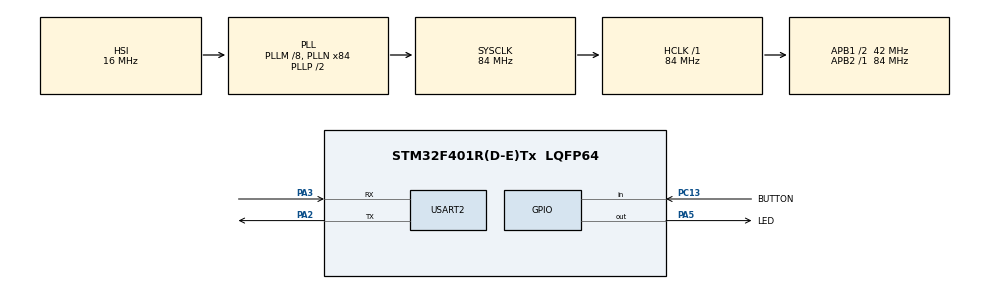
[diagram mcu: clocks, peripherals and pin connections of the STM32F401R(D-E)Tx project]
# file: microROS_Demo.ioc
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Dma.Request0=USART2_RX
Dma.Request1=USART2_TX
Dma.USART2_RX.0.Direction=DMA_PERIPH_TO_MEMORY
Dma.USART2_RX.0.FIFOMode=DMA_FIFOMODE_DISABLE
Dma.USART2_RX.0.Instance=DMA1_Stream5
Dma.USART2_RX.0.MemDataAlignment=DMA_MDATAALIGN_BYTE
Dma.USART2_RX.0.MemInc=DMA_MINC_ENABLE
Dma.USART2_RX.0.Mode=DMA_CIRCULAR
Dma.USART2_RX.0.PeriphDataAlignment=DMA_PDATAALIGN_BYTE
Dma.USART2_RX.0.PeriphInc=DMA_PINC_DISABLE
Dma.USART2_RX.0.Priority=DMA_PRIORITY_VERY_HIGH
Dma.USART2_TX.1.Direction=DMA_MEMORY_TO_PERIPH
Dma.USART2_TX.1.FIFOMode=DMA_FIFOMODE_DISABLE
Dma.USART2_TX.1.Instance=DMA1_Stream6
Dma.USART2_TX.1.MemDataAlignment=DMA_MDATAALIGN_BYTE
Dma.USART2_TX.1.MemInc=DMA_MINC_ENABLE
Dma.USART2_TX.1.Mode=DMA_NORMAL
Dma.USART2_TX.1.PeriphDataAlignment=DMA_PDATAALIGN_BYTE
Dma.USART2_TX.1.PeriphInc=DMA_PINC_DISABLE
Dma.USART2_TX.1.Priority=DMA_PRIORITY_VERY_HIGH
FREERTOS.Tasks01=defaultTask,24,3000,StartDefaultTask,Default,NULL,Static,defaultTaskBuffer,defaultTaskControlBlock
FREERTOS.configUSE_NEWLIB_REENTRANT=1
Mcu.Family=STM32F4
Mcu.Name=STM32F401R(D-E)Tx
Mcu.Package=LQFP64
NVIC.DMA1_Stream5_IRQn=true\:5\:0\:false\:false\:true\:true\:false\:true\:true
NVIC.DMA1_Stream6_IRQn=true\:5\:0\:false\:false\:true\:true\:false\:true\:true
NVIC.PriorityGroup=NVIC_PRIORITYGROUP_4
NVIC.TIM1_UP_TIM10_IRQn=true\:15\:0\:false\:false\:true\:false\:false\:true\:true
NVIC.TimeBase=TIM1_UP_TIM10_IRQn
NVIC.TimeBaseIP=TIM1
NVIC.USART2_IRQn=true\:5\:0\:false\:false\:true\:true\:true\:true\:true
PA13.Mode=Serial_Wire
PA13.Signal=SYS_JTMS-SWDIO
PA14.Mode=Serial_Wire
PA14.Signal=SYS_JTCK-SWCLK
PA2.Mode=Asynchronous
PA2.Signal=USART2_TX
PA3.Mode=Asynchronous
PA3.Signal=USART2_RX
PA5.GPIO_Label=LED
PA5.Signal=GPIO_Output
PC13-ANTI_TAMP.GPIO_Label=BUTTON
PC13-ANTI_TAMP.Signal=GPIO_Input
PH0\ -\ OSC_IN.Mode=HSE-External-Oscillator
PH0\ -\ OSC_IN.Signal=RCC_OSC_IN
PH1\ -\ OSC_OUT.Mode=HSE-External-Oscillator
PH1\ -\ OSC_OUT.Signal=RCC_OSC_OUT
ProjectManager.HeapSize=0x200
ProjectManager.StackSize=0x400
ProjectManager.TargetToolchain=STM32CubeIDE
RCC.48MHZClocksFreq_Value=42000000
RCC.AHBFreq_Value=84000000
RCC.APB1CLKDivider=RCC_HCLK_DIV2
RCC.APB1Freq_Value=42000000
RCC.APB1TimFreq_Value=84000000
RCC.APB2Freq_Value=84000000
RCC.APB2TimFreq_Value=84000000
RCC.CortexFreq_Value=84000000
RCC.HCLKFreq_Value=84000000
RCC.HSE_VALUE=25000000
RCC.HSI_VALUE=16000000
RCC.LSE_VALUE=32768
RCC.PLLM=8
RCC.PLLN=84
RCC.SYSCLKFreq_VALUE=84000000
RCC.SYSCLKSource=RCC_SYSCLKSOURCE_PLLCLK
RCC.VCOOutputFreq_Value=168000000
USART2.VirtualMode=VM_ASYNC
VP_FREERTOS_VS_CMSIS_V2.Mode=CMSIS_V2
VP_SYS_VS_tim1.Mode=TIM1
board=custom

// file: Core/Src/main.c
/* USER CODE BEGIN Header */
/**
  ******************************************************************************
  * @file           : main.c
  * @brief          : Main program body
  ******************************************************************************
  * @attention
  *
  * Copyright (c) 2025 STMicroelectronics.
  * All rights reserved.
  *
  * This software is licensed under terms that can be found in the LICENSE file
  * in the root directory of this software component.
  * If no LICENSE file comes with this software, it is provided AS-IS.
  *
  ******************************************************************************
  */
/* USER CODE END Header */
#include "main.h"
#include "cmsis_os.h"
//#include "dma.h"
//#include "usart.h"
//#include "gpio.h"

/* USER CODE BEGIN Includes */
#include <rcl/rcl.h>
#include <rcl/error_handling.h>
#include <rclc/rclc.h>
#include <rclc/executor.h>
#include <uxr/client/transport.h>
#include <rmw_microxrcedds_c/config.h>
#include <rmw_microros/rmw_microros.h>

#include <std_msgs/msg/int32.h>
#include <geometry_msgs/msg/twist.h>
#include <geometry_msgs/msg/vector3.h>
#include <geometry_msgs/msg/point.h>
/* USER CODE END Includes */

typedef StaticTask_t osStaticThreadDef_t;

UART_HandleTypeDef huart2;
DMA_HandleTypeDef hdma_usart2_rx;
DMA_HandleTypeDef hdma_usart2_tx;

/* Definitions for defaultTask */
osThreadId_t defaultTaskHandle;
uint32_t defaultTaskBuffer[ 3000 ];
osStaticThreadDef_t defaultTaskControlBlock;
const osThreadAttr_t defaultTask_attributes = {
  .name = "defaultTask",
  .cb_mem = &defaultTaskControlBlock,
  .cb_size = sizeof(defaultTaskControlBlock),
  .stack_mem = &defaultTaskBuffer[0],
  .stack_size = sizeof(defaultTaskBuffer),
  .priority = (osPriority_t) osPriorityNormal,
};

void SystemClock_Config(void);
static void MX_GPIO_Init(void);
static void MX_DMA_Init(void);
static void MX_USART2_UART_Init(void);
void StartDefaultTask(void *argument);

int main(void)
{

  /* MCU Configuration--------------------------------------------------------*/

  /* Reset of all peripherals, Initializes the Flash interface and the Systick. */
  HAL_Init();

  /* Configure the system clock */
  SystemClock_Config();

  /* Initialize all configured peripherals */
  MX_GPIO_Init();
  MX_DMA_Init();
  MX_USART2_UART_Init();

  /* Init scheduler */
  osKernelInitialize();

  /* Create the thread(s) */
  /* creation of defaultTask */
  defaultTaskHandle = osThreadNew(StartDefaultTask, NULL, &defaultTask_attributes);

  /* Start scheduler */
  osKernelStart();

  /* We should never get here as control is now taken by the scheduler */

  /* Infinite loop */
  while (1)
  {

  }
}

void SystemClock_Config(void)
{
  RCC_OscInitTypeDef RCC_OscInitStruct = {0};
  RCC_ClkInitTypeDef RCC_ClkInitStruct = {0};

  /** Configure the main internal regulator output voltage
  */
  __HAL_RCC_PWR_CLK_ENABLE();
  __HAL_PWR_VOLTAGESCALING_CONFIG(PWR_REGULATOR_VOLTAGE_SCALE2);

  /** Initializes the RCC Oscillators according to the specified parameters
  * in the RCC_OscInitTypeDef structure.
  */
  RCC_OscInitStruct.OscillatorType = RCC_OSCILLATORTYPE_HSI;
  RCC_OscInitStruct.HSIState = RCC_HSI_ON;
  RCC_OscInitStruct.HSICalibrationValue = RCC_HSICALIBRATION_DEFAULT;
  RCC_OscInitStruct.PLL.PLLState = RCC_PLL_ON;
  RCC_OscInitStruct.PLL.PLLSource = RCC_PLLSOURCE_HSI;
  RCC_OscInitStruct.PLL.PLLM = 8;
  RCC_OscInitStruct.PLL.PLLN = 84;
  RCC_OscInitStruct.PLL.PLLP = RCC_PLLP_DIV2;
  RCC_OscInitStruct.PLL.PLLQ = 4;
  if (HAL_RCC_OscConfig(&RCC_OscInitStruct) != HAL_OK)
  {
    Error_Handler();
  }

  /** Initializes the CPU, AHB and APB buses clocks
  */
  RCC_ClkInitStruct.ClockType = RCC_CLOCKTYPE_HCLK|RCC_CLOCKTYPE_SYSCLK
                              |RCC_CLOCKTYPE_PCLK1|RCC_CLOCKTYPE_PCLK2;
  RCC_ClkInitStruct.SYSCLKSource = RCC_SYSCLKSOURCE_PLLCLK;
  RCC_ClkInitStruct.AHBCLKDivider = RCC_SYSCLK_DIV1;
  RCC_ClkInitStruct.APB1CLKDivider = RCC_HCLK_DIV2;
  RCC_ClkInitStruct.APB2CLKDivider = RCC_HCLK_DIV1;

  if (HAL_RCC_ClockConfig(&RCC_ClkInitStruct, FLASH_LATENCY_2) != HAL_OK)
  {
    Error_Handler();
  }
}

static void MX_USART2_UART_Init(void)
{

  huart2.Instance = USART2;
  huart2.Init.BaudRate = 115200;
  huart2.Init.WordLength = UART_WORDLENGTH_8B;
  huart2.Init.StopBits = UART_STOPBITS_1;
  huart2.Init.Parity = UART_PARITY_NONE;
  huart2.Init.Mode = UART_MODE_TX_RX;
  huart2.Init.HwFlowCtl = UART_HWCONTROL_NONE;
  huart2.Init.OverSampling = UART_OVERSAMPLING_16;
  if (HAL_UART_Init(&huart2) != HAL_OK)
  {
    Error_Handler();
  }

}

static void MX_DMA_Init(void)
{

  /* DMA controller clock enable */
  __HAL_RCC_DMA1_CLK_ENABLE();

  /* DMA interrupt init */
  /* DMA1_Stream5_IRQn interrupt configuration */
  HAL_NVIC_SetPriority(DMA1_Stream5_IRQn, 5, 0);
  HAL_NVIC_EnableIRQ(DMA1_Stream5_IRQn);
  /* DMA1_Stream6_IRQn interrupt configuration */
  HAL_NVIC_SetPriority(DMA1_Stream6_IRQn, 5, 0);
  HAL_NVIC_EnableIRQ(DMA1_Stream6_IRQn);

}

static void MX_GPIO_Init(void)
{
  GPIO_InitTypeDef GPIO_InitStruct = {0};

  /* GPIO Ports Clock Enable */
  __HAL_RCC_GPIOC_CLK_ENABLE();
  __HAL_RCC_GPIOH_CLK_ENABLE();
  __HAL_RCC_GPIOA_CLK_ENABLE();

  /*Configure GPIO pin Output Level */
  HAL_GPIO_WritePin(LED_GPIO_Port, LED_Pin, GPIO_PIN_RESET);

  /*Configure GPIO pin : BUTTON_Pin */
  GPIO_InitStruct.Pin = BUTTON_Pin;
  GPIO_InitStruct.Mode = GPIO_MODE_INPUT;
  GPIO_InitStruct.Pull = GPIO_NOPULL;
  HAL_GPIO_Init(BUTTON_GPIO_Port, &GPIO_InitStruct);

  /*Configure GPIO pin : LED_Pin */
  GPIO_InitStruct.Pin = LED_Pin;
  GPIO_InitStruct.Mode = GPIO_MODE_OUTPUT_PP;
  GPIO_InitStruct.Pull = GPIO_NOPULL;
  GPIO_InitStruct.Speed = GPIO_SPEED_FREQ_LOW;
  HAL_GPIO_Init(LED_GPIO_Port, &GPIO_InitStruct);

}

/* USER CODE BEGIN 4 */
bool cubemx_transport_open(struct uxrCustomTransport * transport);
bool cubemx_transport_close(struct uxrCustomTransport * transport);
size_t cubemx_transport_write(struct uxrCustomTransport* transport, const uint8_t * buf, size_t len, uint8_t * err);
size_t cubemx_transport_read(struct uxrCustomTransport* transport, uint8_t* buf, size_t len, int timeout, uint8_t* err);

void * microros_allocate(size_t size, void * state);
void microros_deallocate(void * pointer, void * state);
void * microros_reallocate(void * pointer, size_t size, void * state);
void * microros_zero_allocate(size_t number_of_elements, size_t size_of_element, void * state);
/* USER CODE END 4 */

void StartDefaultTask(void *argument)
{
  /* USER CODE BEGIN 5 */

  // micro-ROS configuration

  rmw_uros_set_custom_transport(
    true,
    (void *) &huart2,
    cubemx_transport_open,
    cubemx_transport_close,
    cubemx_transport_write,
    cubemx_transport_read);

  rcl_allocator_t freeRTOS_allocator = rcutils_get_zero_initialized_allocator();
  freeRTOS_allocator.allocate = microros_allocate;
  freeRTOS_allocator.deallocate = microros_deallocate;
  freeRTOS_allocator.reallocate = microros_reallocate;
  freeRTOS_allocator.zero_allocate =  microros_zero_allocate;

  if (!rcutils_set_default_allocator(&freeRTOS_allocator)) {
      printf("Error on default allocators (line %d)\n", __LINE__);
  }

  // micro-ROS app

  rcl_publisher_t publisher;
  rcl_publisher_t int32_publisher;

  geometry_msgs__msg__Point msg;
  std_msgs__msg__Int32 int32_msg;

  rclc_support_t support;
  rcl_allocator_t allocator;
  rcl_node_t node;

  msg.x = 0.0;  // Red
  msg.y = 0.0;  // Green
  msg.z = 0.0;  // Blue
  // msg.angular.x = 0.0; // Not used
  // msg.angular.y = 0.0; // Not used
  // msg.angular.z = 0.0; // Not used

  int32_msg.data = 0;

  allocator = rcl_get_default_allocator();

  //create init_options
  rclc_support_init(&support, 0, NULL, &allocator);

  // create node
  rclc_node_init_default(&node, "cubemx_node", "", &support);

  // create publisher
  rclc_publisher_init_default(
    &publisher,
    &node,
    ROSIDL_GET_MSG_TYPE_SUPPORT(geometry_msgs, msg, Point), // (std_msgs, msg, Int32)
    "rgb_led_values");

  rclc_publisher_init_default(
    &int32_publisher,
    &node,
    ROSIDL_GET_MSG_TYPE_SUPPORT(std_msgs, msg, Int32),
    "counter_value");

  double red = 0.0;
  double green = 0.0;
  double blue = 0.0;

  int counter = 0;

  for(;;)
  {

    // Update RGB values (example pattern)
    red = (red + 0.1f) >= 1.0f ? 0.0f : red + 0.1f;
    green = (green + 0.05f) >= 1.0f ? 0.0f : green + 0.05f;
    blue = (blue + 0.02f) >= 1.0f ? 0.0f : blue + 0.02f;

    // Set the RGB values in the Twist message
    msg.x = red;    // Red channel
    msg.y = green;  // Green channel
    msg.z = blue;   // Blue channel

    // Update Int32 message
    int32_msg.data = counter++;

    rcl_ret_t ret = rcl_publish(&publisher, &msg, NULL);
    if (ret != RCL_RET_OK)
    {
      printf("Error publishing (line %d)\n", __LINE__);
    }

    // Publish Int32 message
    rcl_ret_t int_ret = rcl_publish(&int32_publisher, &int32_msg, NULL);
    if (int_ret != RCL_RET_OK)
    {
      printf("Error publishing int32 message (line %d)\n", __LINE__);
    }

    // msg.data++;
    osDelay(100);
  }

  /* USER CODE END 5 */
}

void HAL_TIM_PeriodElapsedCallback(TIM_HandleTypeDef *htim)
{
  if (htim->Instance == TIM1)
  {
    HAL_IncTick();
  }
}

void Error_Handler(void)
{
  __disable_irq();
  while (1)
  {
  }
}
